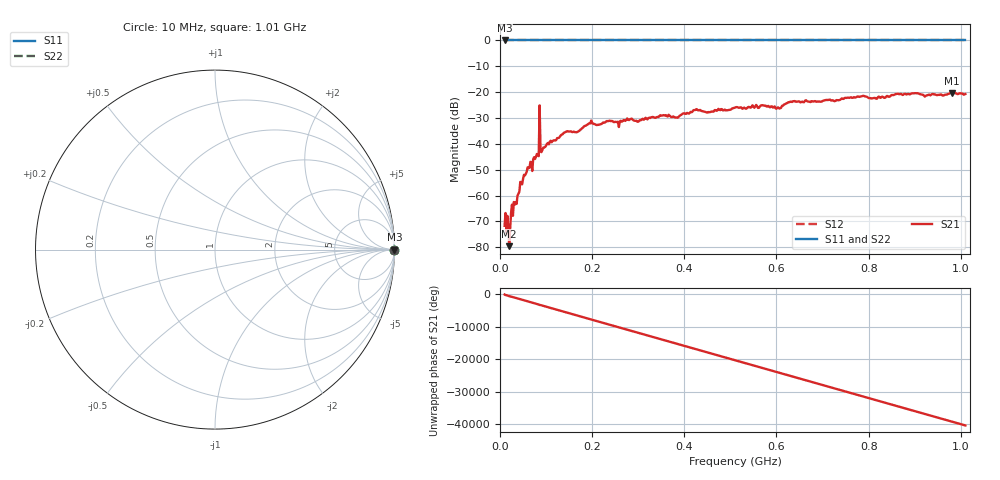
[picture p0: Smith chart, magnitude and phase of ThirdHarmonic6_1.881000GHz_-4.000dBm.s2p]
! 8/16/2025 10:43:19 PM
! C:\ANRITSUVNA\TEMP\TEMP.S2P
! CHANNEL.1
! TR.MEASUREMENT
! RAW.DATA
! RF.CORRECTION.OFF
! AVERAGING.OFF
! IF.BANDWIDTH: 5KHZ
! SWEEPTYPE:  FREQ.SWEEP(Linear)
! Reference Plane Port Info
! PORT:  PORT1  PORT2
! DISTANCE:  0  m  0  m
! TIME:  0  s  0  s
! PHASE.OFFSET:  0  deg.  0  deg.
! LOSS:  0  dB  0  dB
! REF.LOSS:  0  dB  0  dB
! REF.FREQ:  0  Hz  0  Hz
! Power Info
! POWER:  -20  dBm  -20  dBm
! EFF.POWER:  -20  dBm  -20  dBm
! SOURCE.ATTEN:  0  dB  0  dB
! TEST.ATTEN:  0  dB  0  dB
# GHZ S RI R 50.0
! FREQ.GHZ  S11RE  S11IM  S21RE  S21IM  S12RE  S12IM  S22RE  S22IM
!; PortSelection: Port_12
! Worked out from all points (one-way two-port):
!   501 points, 10 MHz to 1.01 GHz, reference 50 ohm
!   highest |S21| = -20.28 dB at 980 MHz (marker M1); lowest = -79.6 dB at 20 MHz (marker M2)
!   lowest |S11| = 0.0 dB at 10 MHz (marker M3)
!   |S11| at or under -10 dB: nowhere
!   |S22| runs from 0.0 to 0.0 dB; largest |S21 - S12| = 1.1
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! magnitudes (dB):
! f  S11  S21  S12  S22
! 10 MHz  0.0  -71.7  0.0  0.0
! 14 MHz  0.0  -74.5  0.0  0.0
! 18 MHz  0.0  -72.5  0.0  0.0
! 20 MHz  0.0  -79.6  0.0  0.0
! 24 MHz  0.0  -66.8  0.0  0.0
! 28 MHz  0.0  -67.8  0.0  0.0
! 48 MHz  0.0  -55.7  0.0  0.0
! 80 MHz  0.0  -43.9  0.0  0.0
! 82 MHz  0.0  -44.4  0.0  0.0
! 90 MHz  0.0  -43.2  0.0  0.0
! 92 MHz  0.0  -42.3  0.0  0.0
! 142 MHz  0.0  -35.4  0.0  0.0
! 178 MHz  0.0  -34.0  0.0  0.0
! 196 MHz  0.0  -32.1  0.0  0.0
! 344 MHz  0.0  -29.6  0.0  0.0
! 510 MHz  0.0  -26.0  0.0  0.0
! 604 MHz  0.0  -25.9  0.0  0.0
! 634 MHz  0.0  -23.8  0.0  0.0
! 678 MHz  0.0  -23.5  0.0  0.0
! 844 MHz  0.0  -21.8  0.0  0.0
! 980 MHz  0.0  -20.3  0.0  0.0
! 1.01 GHz  0.0  -20.7  0.0  0.0
